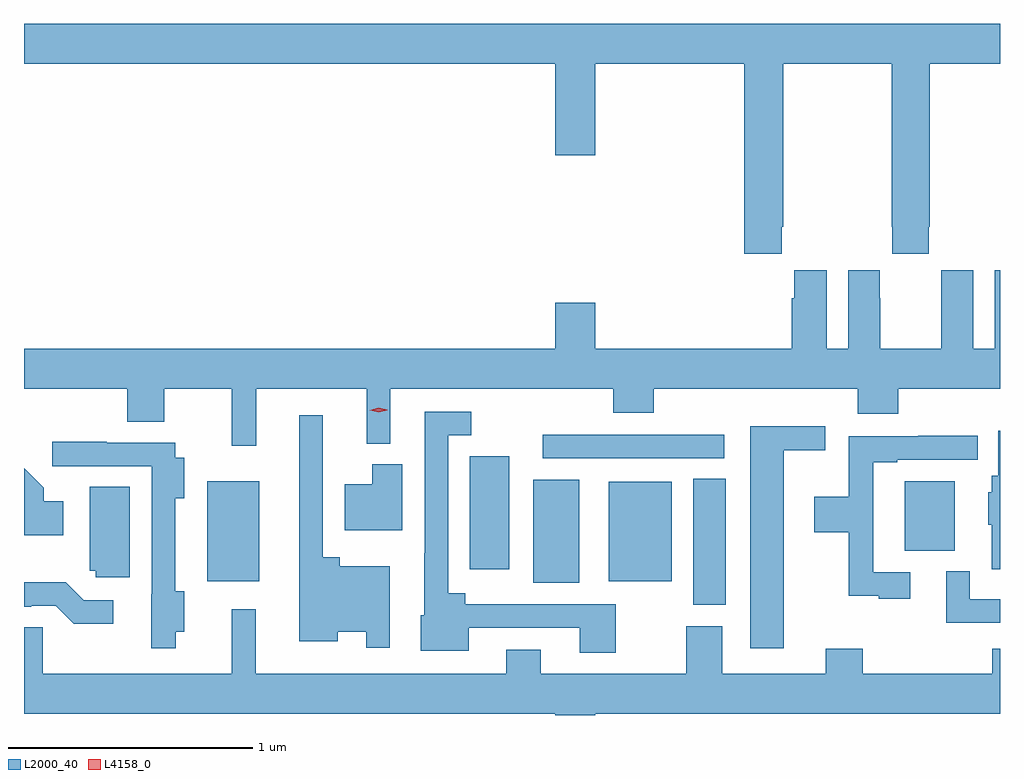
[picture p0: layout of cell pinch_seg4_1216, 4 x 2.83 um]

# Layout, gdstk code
import gdstk
lib = gdstk.Library(unit=1e-6, precision=1e-09)
def R(c, l, rs):  # rectangles x0, y0, x1, y1
    for r in rs: c.add(gdstk.rectangle(r[:2], r[2:], *l))
def P(c, l, *ps):  # polygons
    for p in ps: c.add(gdstk.Polygon(p, *l))
L2000_40 = (2000, 40)
L4158_0 = (4158, 0)

pinch_seg4_1216 = lib.new_cell('pinch_seg4_1216')
R(pinch_seg4_1216, L2000_40, [(321.416,826.571,321.55,827.087), (320.762,826.661,320.95,827.083), (319.424,826.667,319.639,827.077), (321.071,826.667,321.328,827.074), (320.501,826.716,320.662,827.18), (322.283,826.793,322.489,827.077), (320.799,827.172,321.544,827.268)])
P(pinch_seg4_1216, L2000_40, [(321.779,828.121),(321.786,828.121),(321.786,828.788),(322.231,828.788),(322.231,828.121),(322.233,828.121),(322.233,828.009),(322.383,828.009),(322.383,828.121),(322.386,828.121),(322.386,828.788),(322.674,828.788),(322.674,828.952),(318.674,828.952),(318.674,828.788),(320.852,828.788),(320.852,828.414),(321.016,828.414),(321.016,828.788),(321.626,828.788),(321.626,828.009),(321.779,828.009)],
  [(321.016,827.809),(320.852,827.809),(320.852,827.62),(318.674,827.62),(318.674,827.456),(319.097,827.456),(319.097,827.32),(319.249,827.32),(319.249,827.456),(319.525,827.456),(319.525,827.223),(319.625,827.223),(319.625,827.456),(320.078,827.456),(320.078,827.231),(320.176,827.231),(320.176,827.456),(321.089,827.456),(321.089,827.357),(321.254,827.357),(321.254,827.456),(322.091,827.456),(322.091,827.354),(322.256,827.354),(322.256,827.456),(322.674,827.456),(322.674,827.941),(322.652,827.941),(322.652,827.62),(322.564,827.62),(322.564,827.941),(322.434,827.941),(322.434,827.828),(322.433,827.828),(322.433,827.62),(322.183,827.62),(322.183,827.828),(322.182,827.828),(322.182,827.941),(322.052,827.941),(322.052,827.62),(321.964,827.62),(321.964,827.941),(321.83,827.941),(321.83,827.828),(321.821,827.828),(321.821,827.62),(321.016,827.62)],
  [(321.099,826.572),(320.482,826.572),(320.482,826.618),(320.412,826.618),(320.412,827.265),(320.506,827.265),(320.506,827.361),(320.316,827.361),(320.316,826.781),(320.315,826.781),(320.315,826.527),(320.3,826.527),(320.3,826.382),(320.497,826.382),(320.497,826.476),(320.951,826.476),(320.951,826.374),(321.099,826.374)],
  [(320.172,826.729),(319.968,826.729),(319.968,826.765),(319.899,826.765),(319.899,827.347),(319.802,827.347),(319.802,826.421),(319.96,826.421),(319.96,826.46),(320.076,826.46),(320.076,826.395),(320.172,826.395)],
  [(321.787,827.204),(321.958,827.204),(321.958,827.302),(321.65,827.302),(321.65,826.392),(321.787,826.392)],
  [(322.674,827.284),(322.667,827.284),(322.667,827.1),(322.64,827.1),(322.64,827.031),(322.625,827.031),(322.625,826.899),(322.64,826.899),(322.64,826.716),(322.674,826.716)],
  [(322.306,826.704),(322.155,826.704),(322.155,827.154),(322.252,827.154),(322.252,827.166),(322.582,827.166),(322.582,827.264),(322.339,827.264),(322.339,827.262),(322.054,827.262),(322.054,827.014),(321.912,827.014),(321.912,826.867),(322.054,826.867),(322.054,826.607),(322.178,826.607),(322.178,826.596),(322.306,826.596)],
  [(319.296,826.46),(319.33,826.46),(319.33,826.626),(319.294,826.626),(319.294,827.008),(319.33,827.008),(319.33,827.173),(319.293,827.173),(319.293,827.235),(319.013,827.235),(319.013,827.238),(318.789,827.238),(318.789,827.139),(319.197,827.139),(319.197,826.614),(319.196,826.614),(319.196,826.392),(319.296,826.392)],
  [(320.224,827.146),(320.102,827.146),(320.102,827.065),(319.988,827.065),(319.988,826.877),(320.224,826.877)],
  [(318.835,826.996),(318.754,826.996),(318.754,827.051),(318.674,827.131),(318.674,826.856),(318.835,826.856)],
  [(319.108,827.054),(318.944,827.054),(318.944,826.71),(318.969,826.71),(318.969,826.683),(319.108,826.683)],
  [(322.674,826.593),(322.551,826.593),(322.551,826.708),(322.454,826.708),(322.454,826.497),(322.674,826.497)],
  [(319.039,826.59),(318.918,826.59),(318.845,826.663),(318.674,826.663),(318.674,826.563),(318.704,826.563),(318.704,826.566),(318.804,826.566),(318.877,826.493),(319.039,826.493)],
  [(321.016,826.124),(322.674,826.124),(322.674,826.39),(322.643,826.39),(322.643,826.288),(322.112,826.288),(322.112,826.39),(321.959,826.39),(321.959,826.288),(321.535,826.288),(321.535,826.483),(321.388,826.483),(321.388,826.288),(320.791,826.288),(320.791,826.387),(320.651,826.387),(320.651,826.288),(319.624,826.288),(319.624,826.552),(319.525,826.552),(319.525,826.288),(318.75,826.288),(318.75,826.478),(318.674,826.478),(318.674,826.124),(320.852,826.124),(320.852,826.118),(321.016,826.118)])
P(pinch_seg4_1216, L4158_0, [(320.127,827.359),(320.091,827.368),(320.091,827.368),(320.091,827.368),(320.127,827.379),(320.163,827.37),(320.163,827.369),(320.163,827.369)])

lib.write_gds('pinch_seg4_1216.gds')
